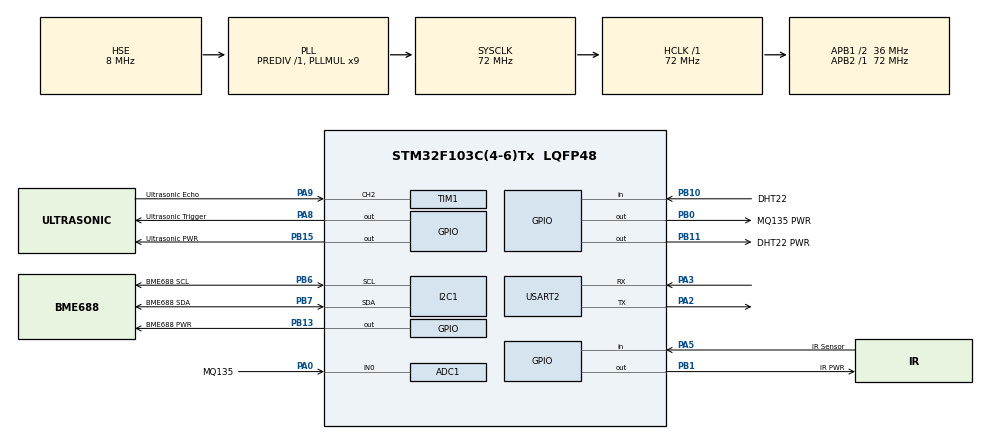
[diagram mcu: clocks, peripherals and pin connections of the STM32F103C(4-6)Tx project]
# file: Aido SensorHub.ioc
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ADC1.Channel-0\#ChannelRegularConversion=ADC_CHANNEL_0
ADC1.NbrOfConversionFlag=1
ADC1.Rank-0\#ChannelRegularConversion=1
ADC1.SamplingTime-0\#ChannelRegularConversion=ADC_SAMPLETIME_1CYCLE_5
ADC1.master=1
Mcu.Family=STM32F1
Mcu.Name=STM32F103C(4-6)Tx
Mcu.Package=LQFP48
NVIC.PriorityGroup=NVIC_PRIORITYGROUP_4
PA0-WKUP.GPIO_Label=MQ135
PA0-WKUP.Signal=ADCx_IN0
PA2.Mode=Asynchronous
PA2.Signal=USART2_TX
PA3.Mode=Asynchronous
PA3.Signal=USART2_RX
PA5.GPIO_Label=IR Sensor
PA5.Signal=GPIO_Input
PA8.GPIO_Label=Ultrasonic Trigger
PA8.Signal=GPIO_Output
PA9.GPIO_Label=Ultrasonic Echo
PA9.Signal=S_TIM1_CH2
PB0.GPIO_Label=MQ135 PWR
PB0.Signal=GPIO_Output
PB1.GPIO_Label=IR PWR
PB1.Signal=GPIO_Output
PB10.GPIO_Label=DHT22
PB10.GPIO_PuPd=GPIO_PULLUP
PB10.Signal=GPIO_Input
PB11.GPIO_Label=DHT22 PWR
PB11.Signal=GPIO_Output
PB13.GPIO_Label=BME688 PWR
PB13.Signal=GPIO_Output
PB15.GPIO_Label=Ultrasonic PWR
PB15.Signal=GPIO_Output
PB6.GPIO_Label=BME688 SCL
PB6.Mode=I2C
PB6.Signal=I2C1_SCL
PB7.GPIO_Label=BME688 SDA
PB7.Mode=I2C
PB7.Signal=I2C1_SDA
PD0-OSC_IN.Mode=HSE-External-Oscillator
PD0-OSC_IN.Signal=RCC_OSC_IN
PD1-OSC_OUT.Mode=HSE-External-Oscillator
PD1-OSC_OUT.Signal=RCC_OSC_OUT
ProjectManager.HeapSize=0x200
ProjectManager.StackSize=0x400
ProjectManager.TargetToolchain=STM32CubeIDE
RCC.ADCPresc=RCC_ADCPCLK2_DIV6
RCC.AHBFreq_Value=72000000
RCC.APB1CLKDivider=RCC_HCLK_DIV2
RCC.APB1Freq_Value=36000000
RCC.APB1TimFreq_Value=72000000
RCC.APB2Freq_Value=72000000
RCC.APB2TimFreq_Value=72000000
RCC.HCLKFreq_Value=72000000
RCC.PLLMUL=RCC_PLL_MUL9
RCC.PLLSourceVirtual=RCC_PLLSOURCE_HSE
RCC.SYSCLKFreq_VALUE=72000000
RCC.SYSCLKSource=RCC_SYSCLKSOURCE_PLLCLK
RCC.USBFreq_Value=72000000
SH.ADCx_IN0.0=ADC1_IN0,IN0
SH.S_TIM1_CH2.0=TIM1_CH2,Input_Capture2_from_TI2
TIM1.Channel-Input_Capture2_from_TI2=TIM_CHANNEL_2
USART2.VirtualMode=VM_ASYNC
VP_SYS_VS_ND.Mode=No_Debug
board=custom

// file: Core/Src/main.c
#include "main.h"

#include "DHT22.h"
#include "aqi.h"       // Include the AQI module
#include "sensor_logger.h" // Include sensor logger for buffer management
/* USER CODE BEGIN PTD */

// Flag for entering and exiting low power mode
uint8_t low_power_mode = 0;

/* USER CODE END PTD */

ADC_HandleTypeDef hadc1;

I2C_HandleTypeDef hi2c1;

TIM_HandleTypeDef htim1;

UART_HandleTypeDef huart2;

/* USER CODE BEGIN PV */
typedef struct {
    GPIO_TypeDef* powerPort;
    uint16_t powerPin;
    uint32_t lastPollTime;
    uint32_t pollInterval;     // in ms
    uint8_t isEnabled;
} sensor_t;

#define AQI_ALERT_THRESHOLD 150    // Set the threshold for AQI alert (example value)

/* USER CODE END PV */

void SystemClock_Config(void);
static void MX_GPIO_Init(void);
static void MX_ADC1_Init(void);
static void MX_I2C1_Init(void);
static void MX_TIM1_Init(void);
static void MX_USART2_UART_Init(void);
/* USER CODE BEGIN PFP */
void poll_dht22(uint32_t current_time);
void poll_mq135(uint32_t current_time);
void poll_bme688(uint32_t current_time);
void adaptive_polling();

/* USER CODE END PFP */

sensor_t dht22 = {DHT22_PWR_GPIO_Port, DHT22_PWR_Pin, 0, 10000, 1};   // Poll every 10s
sensor_t mq135 = {MQ135_PWR_GPIO_Port, MQ135_PWR_Pin, 0, 10000, 1};    // Poll every 10s
sensor_t bme688 = {BME688_PWR_GPIO_Port, BME688_PWR_Pin, 0, 10000, 1};   // Poll every 10s

int main(void)
{

  /* MCU Configuration--------------------------------------------------------*/

  /* Reset of all peripherals, Initializes the Flash interface and the Systick. */
  HAL_Init();

  /* USER CODE BEGIN Init */

  DHT22_Init(DHT22_GPIO_Port, DHT22_Pin);

  /* USER CODE END Init */

  /* Configure the system clock */
  SystemClock_Config();

  /* Initialize all configured peripherals */
  MX_GPIO_Init();
  MX_ADC1_Init();
  MX_I2C1_Init();
  MX_TIM1_Init();
  MX_USART2_UART_Init();

  /* Infinite loop */
  /* USER CODE BEGIN WHILE */
  while (1)
  {
	  uint32_t now = HAL_GetTick();
    /* USER CODE END WHILE */
	  adaptive_polling(); // make it in seperate thread to poll contineuosly...
	  poll_dht22(now);
	  poll_mq135(now);
	  poll_bme688(now);

  }
}

void adaptive_polling(){
    // --- IR Sensor ---
    int ir_state = HAL_GPIO_ReadPin(IR_Sensor_GPIO_Port, IR_Sensor_Pin);

    HAL_GPIO_WritePin(GPIOA, GPIO_PIN_8, GPIO_PIN_SET);
    HAL_Delay(0.01); // 10 us
    HAL_GPIO_WritePin(GPIOA, GPIO_PIN_8, GPIO_PIN_RESET);

	uint32_t value = HAL_TIM_ReadCapturedValue(&htim1, TIM_CHANNEL_2);
	uint32_t distance = (value * 0.034) / 2;
}

void poll_dht22(uint32_t current_time) {
    if (!dht22.isEnabled) return;

    if ((current_time - dht22.lastPollTime) >= dht22.pollInterval) {
        dht22.lastPollTime = current_time;

        float temperature, humidity;
        if (DHT22_Get_Data(&temperature, &humidity)) {
            // Log the data
            log_dht22_data(temperature, humidity, current_time);

            // Adaptive logic (example)
            if (temperature > 30.0 || temperature < 18.0) {
                dht22.pollInterval = 5000; // Poll faster
            } else {
                dht22.pollInterval = 10000; // Normal rate
            }
        }
    }
}

void poll_mq135(uint32_t current_time) {
    if (!mq135.isEnabled) return;

    if ((current_time - mq135.lastPollTime) >= mq135.pollInterval) {
        mq135.lastPollTime = current_time;

        float mq_value = read_mq135(mq135);
        float co, no2;
        if (mq_value) {
            log_mq135_data(co, no2, current_time);
            update_aqi();

            if (co > 5.0 || no2 > 5.0) {
                mq135.pollInterval = 3000;
            } else {
                mq135.pollInterval = 10000;
            }
        }
    }
}

void poll_bme688(uint32_t current_time) {
    if (!bme688.isEnabled) return;

    if ((current_time - bme688.lastPollTime) >= bme688.pollInterval) {
        bme688.lastPollTime = current_time;

        float pm25, co, no2, temp, hum;
        if (read_bme688(&pm25, &co, &no2, &temp, &hum)) {
            log_bme688_data(pm25, co, no2, temp, hum, current_time);
            update_aqi();

            // Adaptive logic based on fluctuation
            if (pm25 > 100 || co > 5 || no2 > 5) {
                bme688.pollInterval = 5000;
            } else {
                bme688.pollInterval = 10000;
            }
        }
    }
}

// Dummy MQ135 Read Function
uint8_t MQ135_Read(float* ppm) {
    if (rand() % 100 < 95) { // 95% chance of success
        *ppm = 50 + (rand() % 251); // 50 to 300 ppm
        return 1;
    }
    return 0; // simulate failure
}

// Dummy BME688 Read Function
uint8_t BME688_Read(float* temperature, float* humidity, float* gasResistance) {
    if (rand() % 100 < 95) { // 95% chance of success
        *temperature = 20.0 + (rand() % 1500) / 100.0;      // 20.0 to 35.0 °C
        *humidity = 30.0 + (rand() % 5000) / 100.0;         // 30.0 to 80.0 %
        *gasResistance = 10.0 + (rand() % 5000) / 100.0;    // 10.0 to 60.0 kΩ
        return 1;
    }
    return 0; // simulate failure
}

void power_on(sensor_t* sensor) {
    HAL_GPIO_WritePin(sensor->powerPort, sensor->powerPin, GPIO_PIN_SET);
}

void power_off(sensor_t* sensor) {
    HAL_GPIO_WritePin(sensor->powerPort, sensor->powerPin, GPIO_PIN_RESET);
}

// Function to enter Sleep Mode
void enter_sleep_mode(void) {
    // Disable all non-essential peripherals here before entering sleep
    HAL_PWR_EnterSLEEPMode(PWR_MAINREGULATOR_ON, PWR_SLEEPENTRY_WFI);  // Wait for Interrupt (WFI) mode
}

// Function to enter Stop Mode
void enter_stop_mode(void) {
    // You can stop the main system clock, reduce peripherals, etc.
    HAL_PWR_EnterSTOPMode(PWR_LOWPOWERREGULATOR_ON, PWR_STOPENTRY_WFI); // Wait for Interrupt (WFI)
}

// Interrupt handler (sensor interrupt or external pin interrupt)
void EXTI0_IRQHandler(void) {
    // Handle interrupt (for example, from an IR sensor or a user button)
    HAL_GPIO_EXTI_IRQHandler(GPIO_PIN_0);  // Clear interrupt flag for the pin

    // Wake up logic (if the controller was in sleep mode, exit sleep mode)
    if (low_power_mode) {
        low_power_mode = 0;
        printf("Waking up from sleep mode!\n");
        HAL_PWR_EnableWakeUpPin(PWR_WAKEUP_PIN1);  // Enable the wake-up pin again (if used)
    }
}

void SystemClock_Config(void)
{
  RCC_OscInitTypeDef RCC_OscInitStruct = {0};
  RCC_ClkInitTypeDef RCC_ClkInitStruct = {0};
  RCC_PeriphCLKInitTypeDef PeriphClkInit = {0};

  /** Initializes the RCC Oscillators according to the specified parameters
  * in the RCC_OscInitTypeDef structure.
  */
  RCC_OscInitStruct.OscillatorType = RCC_OSCILLATORTYPE_HSE;
  RCC_OscInitStruct.HSEState = RCC_HSE_ON;
  RCC_OscInitStruct.HSEPredivValue = RCC_HSE_PREDIV_DIV1;
  RCC_OscInitStruct.HSIState = RCC_HSI_ON;
  RCC_OscInitStruct.PLL.PLLState = RCC_PLL_ON;
  RCC_OscInitStruct.PLL.PLLSource = RCC_PLLSOURCE_HSE;
  RCC_OscInitStruct.PLL.PLLMUL = RCC_PLL_MUL9;
  if (HAL_RCC_OscConfig(&RCC_OscInitStruct) != HAL_OK)
  {
    Error_Handler();
  }

  /** Initializes the CPU, AHB and APB buses clocks
  */
  RCC_ClkInitStruct.ClockType = RCC_CLOCKTYPE_HCLK|RCC_CLOCKTYPE_SYSCLK
                              |RCC_CLOCKTYPE_PCLK1|RCC_CLOCKTYPE_PCLK2;
  RCC_ClkInitStruct.SYSCLKSource = RCC_SYSCLKSOURCE_PLLCLK;
  RCC_ClkInitStruct.AHBCLKDivider = RCC_SYSCLK_DIV1;
  RCC_ClkInitStruct.APB1CLKDivider = RCC_HCLK_DIV2;
  RCC_ClkInitStruct.APB2CLKDivider = RCC_HCLK_DIV1;

  if (HAL_RCC_ClockConfig(&RCC_ClkInitStruct, FLASH_LATENCY_2) != HAL_OK)
  {
    Error_Handler();
  }
  PeriphClkInit.PeriphClockSelection = RCC_PERIPHCLK_ADC;
  PeriphClkInit.AdcClockSelection = RCC_ADCPCLK2_DIV6;
  if (HAL_RCCEx_PeriphCLKConfig(&PeriphClkInit) != HAL_OK)
  {
    Error_Handler();
  }
}

static void MX_ADC1_Init(void)
{

  ADC_ChannelConfTypeDef sConfig = {0};

  /** Common config
  */
  hadc1.Instance = ADC1;
  hadc1.Init.ScanConvMode = ADC_SCAN_DISABLE;
  hadc1.Init.ContinuousConvMode = DISABLE;
  hadc1.Init.DiscontinuousConvMode = DISABLE;
  hadc1.Init.ExternalTrigConv = ADC_SOFTWARE_START;
  hadc1.Init.DataAlign = ADC_DATAALIGN_RIGHT;
  hadc1.Init.NbrOfConversion = 1;
  if (HAL_ADC_Init(&hadc1) != HAL_OK)
  {
    Error_Handler();
  }

  /** Configure Regular Channel
  */
  sConfig.Channel = ADC_CHANNEL_0;
  sConfig.Rank = ADC_REGULAR_RANK_1;
  sConfig.SamplingTime = ADC_SAMPLETIME_1CYCLE_5;
  if (HAL_ADC_ConfigChannel(&hadc1, &sConfig) != HAL_OK)
  {
    Error_Handler();
  }

}

static void MX_I2C1_Init(void)
{

  hi2c1.Instance = I2C1;
  hi2c1.Init.ClockSpeed = 100000;
  hi2c1.Init.DutyCycle = I2C_DUTYCYCLE_2;
  hi2c1.Init.OwnAddress1 = 0;
  hi2c1.Init.AddressingMode = I2C_ADDRESSINGMODE_7BIT;
  hi2c1.Init.DualAddressMode = I2C_DUALADDRESS_DISABLE;
  hi2c1.Init.OwnAddress2 = 0;
  hi2c1.Init.GeneralCallMode = I2C_GENERALCALL_DISABLE;
  hi2c1.Init.NoStretchMode = I2C_NOSTRETCH_DISABLE;
  if (HAL_I2C_Init(&hi2c1) != HAL_OK)
  {
    Error_Handler();
  }

}

static void MX_TIM1_Init(void)
{

  TIM_MasterConfigTypeDef sMasterConfig = {0};
  TIM_IC_InitTypeDef sConfigIC = {0};

  htim1.Instance = TIM1;
  htim1.Init.Prescaler = 0;
  htim1.Init.CounterMode = TIM_COUNTERMODE_UP;
  htim1.Init.Period = 65535;
  htim1.Init.ClockDivision = TIM_CLOCKDIVISION_DIV1;
  htim1.Init.RepetitionCounter = 0;
  htim1.Init.AutoReloadPreload = TIM_AUTORELOAD_PRELOAD_DISABLE;
  if (HAL_TIM_IC_Init(&htim1) != HAL_OK)
  {
    Error_Handler();
  }
  sMasterConfig.MasterOutputTrigger = TIM_TRGO_RESET;
  sMasterConfig.MasterSlaveMode = TIM_MASTERSLAVEMODE_DISABLE;
  if (HAL_TIMEx_MasterConfigSynchronization(&htim1, &sMasterConfig) != HAL_OK)
  {
    Error_Handler();
  }
  sConfigIC.ICPolarity = TIM_INPUTCHANNELPOLARITY_RISING;
  sConfigIC.ICSelection = TIM_ICSELECTION_DIRECTTI;
  sConfigIC.ICPrescaler = TIM_ICPSC_DIV1;
  sConfigIC.ICFilter = 0;
  if (HAL_TIM_IC_ConfigChannel(&htim1, &sConfigIC, TIM_CHANNEL_2) != HAL_OK)
  {
    Error_Handler();
  }

}

static void MX_USART2_UART_Init(void)
{

  huart2.Instance = USART2;
  huart2.Init.BaudRate = 115200;
  huart2.Init.WordLength = UART_WORDLENGTH_8B;
  huart2.Init.StopBits = UART_STOPBITS_1;
  huart2.Init.Parity = UART_PARITY_NONE;
  huart2.Init.Mode = UART_MODE_TX_RX;
  huart2.Init.HwFlowCtl = UART_HWCONTROL_NONE;
  huart2.Init.OverSampling = UART_OVERSAMPLING_16;
  if (HAL_UART_Init(&huart2) != HAL_OK)
  {
    Error_Handler();
  }

}

static void MX_GPIO_Init(void)
{
  GPIO_InitTypeDef GPIO_InitStruct = {0};

  /* GPIO Ports Clock Enable */
  __HAL_RCC_GPIOD_CLK_ENABLE();
  __HAL_RCC_GPIOA_CLK_ENABLE();
  __HAL_RCC_GPIOB_CLK_ENABLE();

  /*Configure GPIO pin Output Level */
  HAL_GPIO_WritePin(GPIOB, MQ135_PWR_Pin|IR_PWR_Pin|DHT22_PWR_Pin|BME688_PWR_Pin
                          |Ultrasonic_PWR_Pin, GPIO_PIN_RESET);

  /*Configure GPIO pin Output Level */
  HAL_GPIO_WritePin(Ultrasonic_Trigger_GPIO_Port, Ultrasonic_Trigger_Pin, GPIO_PIN_RESET);

  /*Configure GPIO pin : IR_Sensor_Pin */
  GPIO_InitStruct.Pin = IR_Sensor_Pin;
  GPIO_InitStruct.Mode = GPIO_MODE_INPUT;
  GPIO_InitStruct.Pull = GPIO_NOPULL;
  HAL_GPIO_Init(IR_Sensor_GPIO_Port, &GPIO_InitStruct);

  /*Configure GPIO pins : MQ135_PWR_Pin IR_PWR_Pin DHT22_PWR_Pin BME688_PWR_Pin
                           Ultrasonic_PWR_Pin */
  GPIO_InitStruct.Pin = MQ135_PWR_Pin|IR_PWR_Pin|DHT22_PWR_Pin|BME688_PWR_Pin
                          |Ultrasonic_PWR_Pin;
  GPIO_InitStruct.Mode = GPIO_MODE_OUTPUT_PP;
  GPIO_InitStruct.Pull = GPIO_NOPULL;
  GPIO_InitStruct.Speed = GPIO_SPEED_FREQ_LOW;
  HAL_GPIO_Init(GPIOB, &GPIO_InitStruct);

  /*Configure GPIO pin : DHT22_Pin */
  GPIO_InitStruct.Pin = DHT22_Pin;
  GPIO_InitStruct.Mode = GPIO_MODE_INPUT;
  GPIO_InitStruct.Pull = GPIO_PULLUP;
  HAL_GPIO_Init(DHT22_GPIO_Port, &GPIO_InitStruct);

  /*Configure GPIO pin : Ultrasonic_Trigger_Pin */
  GPIO_InitStruct.Pin = Ultrasonic_Trigger_Pin;
  GPIO_InitStruct.Mode = GPIO_MODE_OUTPUT_PP;
  GPIO_InitStruct.Pull = GPIO_NOPULL;
  GPIO_InitStruct.Speed = GPIO_SPEED_FREQ_LOW;
  HAL_GPIO_Init(Ultrasonic_Trigger_GPIO_Port, &GPIO_InitStruct);

}

void Error_Handler(void)
{
  __disable_irq();
  while (1)
  {
  }
}
